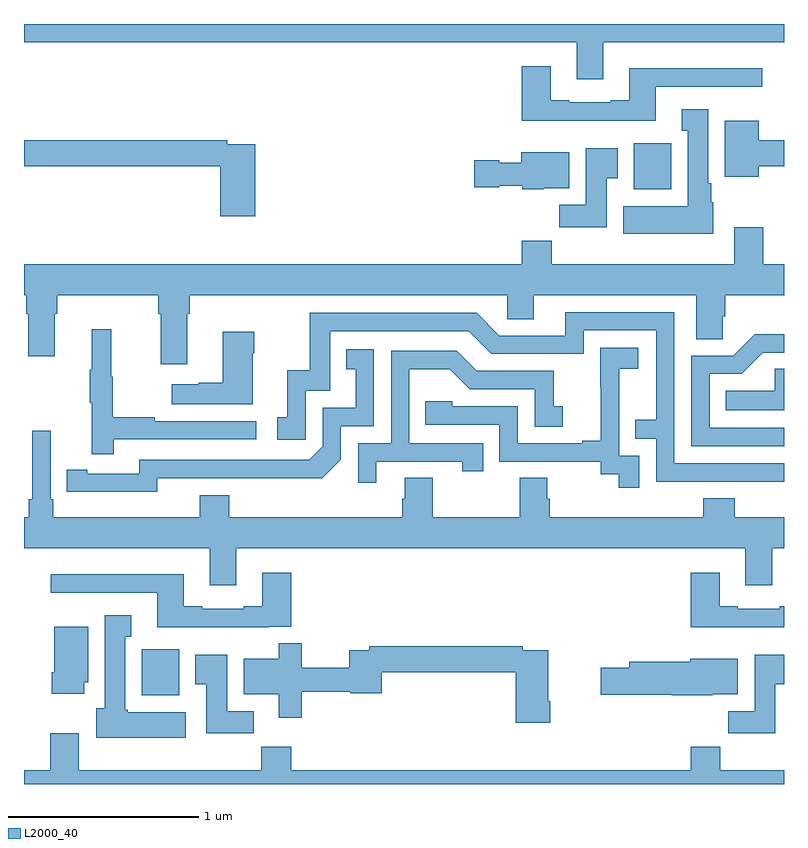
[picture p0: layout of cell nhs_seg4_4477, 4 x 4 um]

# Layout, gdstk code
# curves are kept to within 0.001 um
import gdstk
lib = gdstk.Library(unit=1e-6, precision=1e-09)
def R(c, l, rs):  # rectangles x0, y0, x1, y1
    for r in rs: c.add(gdstk.rectangle(r[:2], r[2:], *l))
def P(c, l, *ps):  # polygons
    for p in ps: c.add(gdstk.Polygon(p, *l))
L2000_40 = (2000, 40)

nhs_seg4_4477 = lib.new_cell('nhs_seg4_4477')
R(nhs_seg4_4477, L2000_40, [(351.62,809.366,351.817,809.608), (354.209,812.03,354.406,812.272)])
P(nhs_seg4_4477, L2000_40, [(354.049,812.804),(355,812.804),(355,812.9),(351,812.9),(351,812.804),(353.909,812.804),(353.909,812.61),(354.049,812.61)],
  [(354.325,812.571),(354.886,812.571),(354.886,812.668),(354.185,812.668),(354.185,812.5),(354.089,812.5),(354.089,812.487),(353.869,812.487),(353.869,812.5),(353.773,812.5),(353.773,812.677),(353.621,812.677),(353.621,812.39),(354.325,812.39)],
  [(354.628,811.962),(354.616,811.962),(354.616,812.062),(354.601,812.062),(354.601,812.452),(354.461,812.452),(354.461,812.339),(354.494,812.339),(354.494,811.942),(354.155,811.942),(354.155,811.796),(354.628,811.796)],
  [(354.868,812.152),(355,812.152),(355,812.288),(354.868,812.288),(354.868,812.392),(354.689,812.392),(354.689,812.096),(354.868,812.096)],
  [(352.217,812.268),(352.07,812.268),(352.07,812.288),(351,812.288),(351,812.152),(352.034,812.152),(352.034,811.887),(352.217,811.887)],
  [(354.067,812.089),(354.124,812.089),(354.124,812.245),(353.957,812.245),(353.957,811.948),(353.818,811.948),(353.818,811.83),(354.067,811.83)],
  [(353.736,812.036),(353.869,812.036),(353.869,812.224),(353.618,812.224),(353.618,812.17),(353.502,812.17),(353.502,812.183),(353.37,812.183),(353.37,812.041),(353.502,812.041),(353.502,812.048),(353.622,812.048),(353.622,812.03),(353.736,812.03)],
  [(351.859,811.376),(351.872,811.376),(351.872,811.472),(353.544,811.472),(353.544,811.345),(353.683,811.345),(353.683,811.472),(354.539,811.472),(354.539,811.24),(354.678,811.24),(354.678,811.363),(354.692,811.363),(354.692,811.472),(355,811.472),(355,811.636),(354.89,811.636),(354.89,811.831),(354.737,811.831),(354.737,811.636),(353.777,811.636),(353.777,811.76),(353.621,811.76),(353.621,811.636),(351,811.636),(351,811.472),(351.011,811.472),(351.011,811.376),(351.023,811.376),(351.023,811.152),(351.163,811.152),(351.163,811.376),(351.176,811.376),(351.176,811.472),(351.707,811.472),(351.707,811.376),(351.719,811.376),(351.719,811.11),(351.859,811.11)],
  [(355,810.588),(354.423,810.588),(354.423,811.383),(353.849,811.383),(353.849,811.26),(353.502,811.26),(353.382,811.38),(352.503,811.38),(352.503,811.078),(352.385,811.078),(352.385,810.831),(352.332,810.831),(352.332,810.711),(352.482,810.711),(352.482,810.969),(352.611,810.969),(352.611,811.284),(353.34,811.284),(353.46,811.164),(353.946,811.164),(353.946,811.287),(354.327,811.287),(354.327,810.818),(354.217,810.818),(354.217,810.717),(354.327,810.717),(354.327,810.492),(355,810.491)],
  [(351.473,810.714),(352.222,810.714),(352.222,810.81),(351.689,810.81),(351.689,810.83),(351.466,810.83),(351.466,811.044),(351.458,811.044),(351.458,811.294),(351.356,811.294),(351.356,811.081),(351.345,811.081),(351.345,810.907),(351.356,810.907),(351.356,810.636),(351.473,810.636)],
  [(352.204,811.166),(352.212,811.166),(352.212,811.279),(352.046,811.279),(352.046,811.013),(351.92,811.013),(351.92,811.003),(351.777,811.003),(351.777,810.899),(352.204,810.899)],
  [(355,810.774),(354.609,810.774),(354.609,811.059),(354.778,811.059),(354.889,811.17),(355,811.17),(355,811.268),(354.845,811.268),(354.732,811.155),(354.513,811.155),(354.513,810.678),(355,810.678)],
  [(354.237,810.627),(354.132,810.627),(354.132,810.857),(354.134,810.857),(354.134,811.085),(354.232,811.085),(354.232,811.195),(354.034,811.195),(354.034,810.989),(354.035,810.989),(354.035,810.706),(353.939,810.706),(353.939,810.693),(353.598,810.693),(353.598,810.888),(353.253,810.888),(353.253,810.915),(353.113,810.915),(353.113,810.792),(353.502,810.792),(353.502,810.597),(354.036,810.597),(354.036,810.529),(354.129,810.529),(354.129,810.459),(354.237,810.459)],
  [(351.702,810.51),(352.57,810.509),(352.668,810.606),(352.668,810.783),(352.842,810.783),(352.842,811.189),(352.696,811.189),(352.696,811.083),(352.745,811.083),(352.745,810.879),(352.572,810.879),(352.572,810.678),(352.5,810.606),(351.606,810.606),(351.606,810.534),(351.334,810.534),(351.334,810.554),(351.226,810.554),(351.226,810.438),(351.702,810.437)],
  [(352.855,810.597),(353.306,810.597),(353.306,810.546),(353.417,810.546),(353.417,810.693),(353.028,810.693),(353.028,811.082),(353.242,811.082),(353.346,810.978),(353.688,810.978),(353.688,810.78),(353.836,810.78),(353.836,810.889),(353.787,810.889),(353.787,811.074),(353.383,811.074),(353.278,811.179),(352.932,811.179),(352.932,810.693),(352.758,810.693),(352.758,810.486),(352.855,810.486)],
  [(355,811.085),(354.951,811.085),(354.951,810.97),(354.694,810.97),(354.694,810.866),(355,810.866)],
  [(352.117,810.14),(354.797,810.14),(354.797,809.946),(354.937,809.946),(354.937,810.14),(355,810.14),(355,810.304),(354.74,810.304),(354.74,810.403),(354.575,810.403),(354.575,810.304),(353.768,810.304),(353.768,810.402),(353.755,810.402),(353.755,810.512),(353.608,810.512),(353.608,810.304),(353.151,810.304),(353.151,810.512),(353.003,810.512),(353.003,810.402),(352.991,810.402),(352.991,810.304),(352.079,810.304),(352.079,810.421),(351.926,810.421),(351.926,810.304),(351.155,810.304),(351.155,810.4),(351.141,810.4),(351.141,810.76),(351.044,810.76),(351.044,810.4),(351.025,810.4),(351.025,810.304),(351,810.304),(351,810.14),(351.977,810.14),(351.977,809.946),(352.117,809.946)],
  [(352.289,809.727),(352.406,809.727),(352.406,810.013),(352.253,810.013),(352.253,809.836),(352.157,809.836),(352.157,809.823),(351.937,809.823),(351.937,809.836),(351.841,809.836),(351.841,810.004),(351.141,810.004),(351.141,809.907),(351.701,809.907),(351.701,809.726),(352.289,809.726)],
  [(355,809.836),(354.977,809.836),(354.977,809.823),(354.757,809.823),(354.757,809.836),(354.661,809.836),(354.661,810.013),(354.509,810.013),(354.509,809.726),(355,809.726)],
  [(351.85,809.278),(351.546,809.278),(351.546,809.292),(351.532,809.292),(351.532,809.675),(351.565,809.675),(351.565,809.788),(351.425,809.788),(351.425,809.298),(351.38,809.298),(351.38,809.144),(351.85,809.144)],
  [(351.316,809.436),(351.337,809.436),(351.337,809.728),(351.158,809.728),(351.158,809.488),(351.146,809.488),(351.146,809.376),(351.316,809.376)],
  [(353.771,809.335),(353.758,809.335),(353.758,809.604),(353.624,809.604),(353.624,809.624),(352.816,809.624),(352.816,809.604),(352.712,809.604),(352.712,809.513),(352.462,809.513),(352.462,809.642),(352.34,809.642),(352.34,809.56),(352.157,809.56),(352.157,809.372),(352.34,809.372),(352.34,809.25),(352.462,809.25),(352.462,809.385),(352.716,809.385),(352.716,809.377),(352.883,809.377),(352.883,809.488),(353.588,809.488),(353.588,809.223),(353.771,809.223)],
  [(354.955,809.425),(355,809.425),(355,809.581),(354.845,809.581),(354.845,809.284),(354.706,809.284),(354.706,809.166),(354.955,809.166)],
  [(352.208,809.284),(352.069,809.284),(352.069,809.581),(351.902,809.581),(351.902,809.425),(351.959,809.425),(351.959,809.166),(352.208,809.166)],
  [(354.624,809.372),(354.757,809.372),(354.757,809.56),(354.506,809.56),(354.506,809.543),(354.185,809.543),(354.185,809.513),(354.036,809.513),(354.036,809.371),(354.41,809.371),(354.41,809.366),(354.624,809.366)],
  [(355,808.972),(354.665,808.972),(354.665,809.096),(354.509,809.096),(354.509,808.972),(352.406,808.972),(352.406,809.096),(352.249,809.096),(352.249,808.972),(351.289,808.972),(351.289,809.167),(351.137,809.167),(351.137,808.972),(351,808.972),(351,808.9),(355,808.9)])

lib.write_gds('nhs_seg4_4477.gds')
